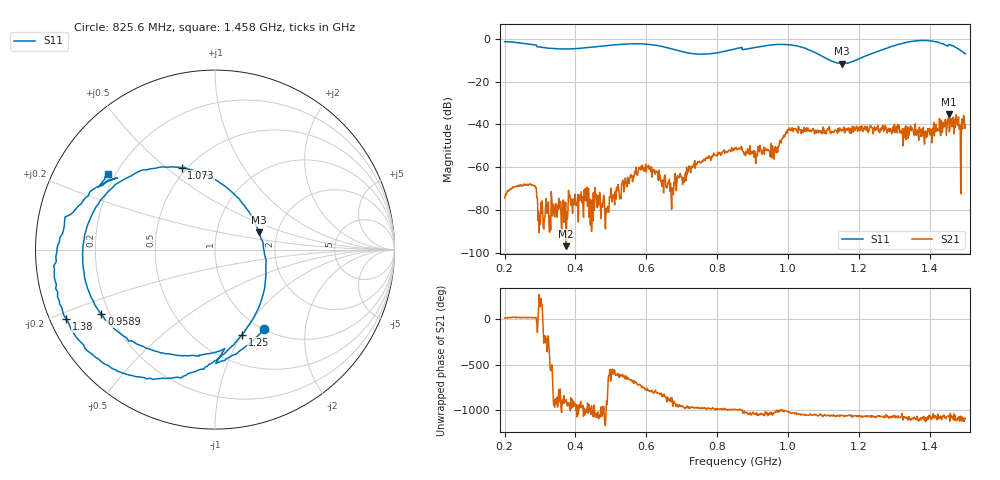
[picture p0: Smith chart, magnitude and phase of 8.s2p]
! NanoVNA-App
! Date: 2024-06-25 16:50:02
! Start: 200MHz Stop: 1.5GHz Points: 801
! S-Parameter data: F S11 S21 S12 S22
# Hz S RI R 50
!  Frequency  S11_Real  S11_Imag  S21_Real  S21_Imag  S12_Real  S12_Imag  S22_Real  S22_Imag
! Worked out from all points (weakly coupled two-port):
!   801 points, 200 MHz to 1.5 GHz, reference 50 ohm
!   highest |S21| = -35.31 dB at 1.453 GHz (marker M1); lowest = -97.0 dB at 373.9 MHz (marker M2)
!   lowest |S11| = -11.6 dB at 1.152 GHz (marker M3), VSWR 1.71, Z = 80.1 + j16.7 ohm
!   |S11| at or under -10 dB: 1.118 GHz to 1.191 GHz (72.68 MHz wide, 6.29 % of centre)
!   S12 and S22 are empty: the file has one direction only
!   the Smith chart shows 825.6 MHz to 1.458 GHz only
!   S11 on the Smith chart (normalised r, x): 825.6 MHz: 1.01, -1.22; 958.9 MHz: 0.17, -0.26; 1.073 GHz: 0.47, +0.56; 1.25 GHz: 0.80, -1.00; 1.38 GHz: 0.05, -0.22; 1.458 GHz: 0.17, +0.31
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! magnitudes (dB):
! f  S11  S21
! 200 MHz  -1.3  -74.5
! 276.4 MHz  -2.6  -68.6
! 300.8 MHz  -3.9  -86.6
! 373.9 MHz  -4.7  -97.0
! 417.8 MHz  -4.3  -76.7
! 487.6 MHz  -3.2  -81.3
! 583.5 MHz  -2.3  -61.3
! 633.9 MHz  -3.2  -66.2
! 672.9 MHz  -4.7  -69.7
! 825.6 MHz  -5.7  -52.8
! 850 MHz  -4.7  -51.5
! 958.9 MHz  -2.8  -52.7
! 1.004 GHz  -2.8  -41.8
! 1.068 GHz  -5.8  -42.6
! 1.073 GHz  -6.2  -42.9
! 1.152 GHz  -11.6  -42.5
! 1.25 GHz  -6.1  -42.2
! 1.284 GHz  -4.0  -41.8
! 1.38 GHz  -0.8  -43.2
! 1.453 GHz  -2.6  -35.3
! 1.458 GHz  -2.7  -37.3
! 1.5 GHz  -7.0  -40.3
